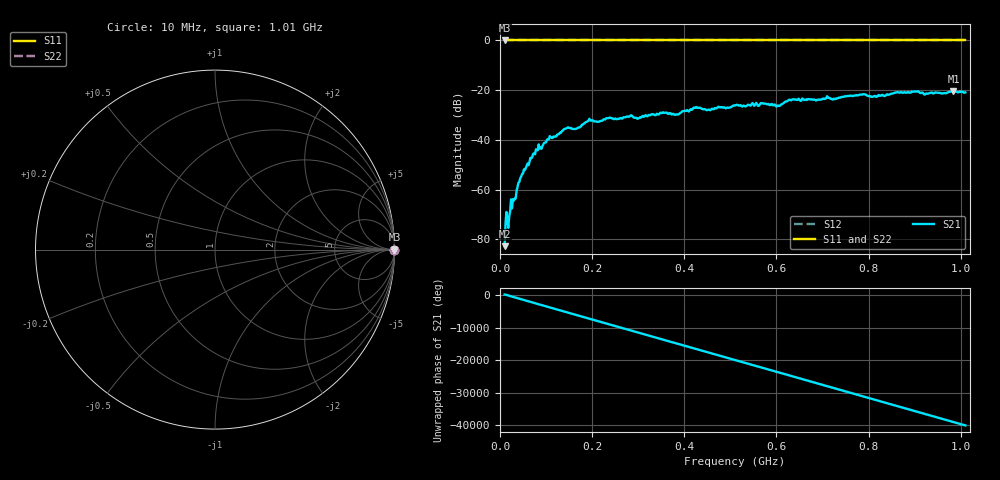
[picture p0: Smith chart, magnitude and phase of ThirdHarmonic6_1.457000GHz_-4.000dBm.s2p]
! 8/16/2025 4:55:05 PM
! C:\ANRITSUVNA\TEMP\TEMP.S2P
! CHANNEL.1
! TR.MEASUREMENT
! RAW.DATA
! RF.CORRECTION.OFF
! AVERAGING.OFF
! IF.BANDWIDTH: 5KHZ
! SWEEPTYPE:  FREQ.SWEEP(Linear)
! Reference Plane Port Info
! PORT:  PORT1  PORT2
! DISTANCE:  0  m  0  m
! TIME:  0  s  0  s
! PHASE.OFFSET:  0  deg.  0  deg.
! LOSS:  0  dB  0  dB
! REF.LOSS:  0  dB  0  dB
! REF.FREQ:  0  Hz  0  Hz
! Power Info
! POWER:  -20  dBm  -20  dBm
! EFF.POWER:  -20  dBm  -20  dBm
! SOURCE.ATTEN:  0  dB  0  dB
! TEST.ATTEN:  0  dB  0  dB
# GHZ S RI R 50.0
! FREQ.GHZ  S11RE  S11IM  S21RE  S21IM  S12RE  S12IM  S22RE  S22IM
!; PortSelection: Port_12
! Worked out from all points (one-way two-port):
!   501 points, 10 MHz to 1.01 GHz, reference 50 ohm
!   highest |S21| = -20.36 dB at 984 MHz (marker M1); lowest = -82.7 dB at 10 MHz (marker M2)
!   lowest |S11| = 0.0 dB at 10 MHz (marker M3)
!   |S11| at or under -10 dB: nowhere
!   |S22| runs from 0.0 to 0.0 dB; largest |S21 - S12| = 1.1
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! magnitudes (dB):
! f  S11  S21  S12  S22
! 10 MHz  0.0  -82.7  0.0  0.0
! 26 MHz  0.0  -67.5  0.0  0.0
! 30 MHz  0.0  -64.4  0.0  0.0
! 44 MHz  0.0  -55.4  0.0  0.0
! 76 MHz  0.0  -45.8  0.0  0.0
! 106 MHz  0.0  -39.8  0.0  0.0
! 142 MHz  0.0  -35.5  0.0  0.0
! 178 MHz  0.0  -33.9  0.0  0.0
! 196 MHz  0.0  -32.1  0.0  0.0
! 282 MHz  0.0  -30.4  0.0  0.0
! 302 MHz  0.0  -31.2  0.0  0.0
! 344 MHz  0.0  -29.8  0.0  0.0
! 384 MHz  0.0  -29.7  0.0  0.0
! 424 MHz  0.0  -27.1  0.0  0.0
! 452 MHz  0.0  -27.8  0.0  0.0
! 510 MHz  0.0  -26.1  0.0  0.0
! 604 MHz  0.0  -26.2  0.0  0.0
! 630 MHz  0.0  -23.9  0.0  0.0
! 678 MHz  0.0  -23.8  0.0  0.0
! 844 MHz  0.0  -21.9  0.0  0.0
! 984 MHz  0.0  -20.4  0.0  0.0
! 1.01 GHz  0.0  -20.9  0.0  0.0
